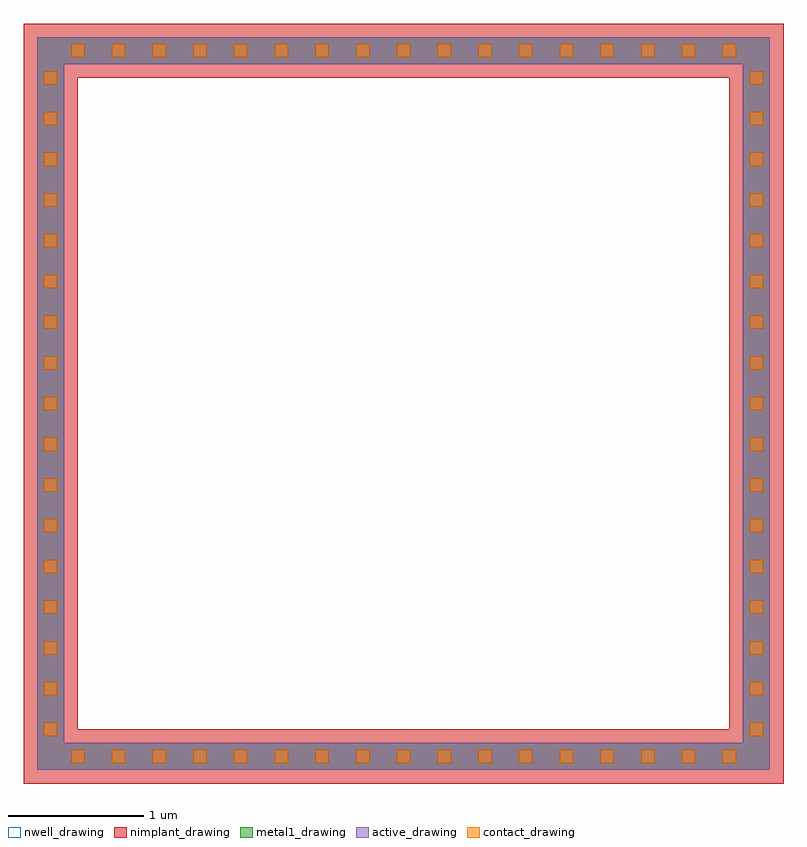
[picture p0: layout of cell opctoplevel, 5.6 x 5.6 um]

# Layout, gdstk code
import gdstk
lib = gdstk.Library(unit=1e-6, precision=1e-09)
def R(c, l, rs):  # rectangles x0, y0, x1, y1
    for r in rs: c.add(gdstk.rectangle(r[:2], r[2:], *l))
def A(c, l, x, y, w, h, nx, ny, dx, dy):  # array of equal rectangles
    R(c, l, [(x+i*dx, y+j*dy, x+i*dx+w, y+j*dy+h) for i in range(nx) for j in range(ny)])
active_drawing = (1, 0)
nwell_drawing = (3, 0)
nimplant_drawing = (5, 0)
contact_drawing = (7, 0)
metal1_drawing = (8, 0)

opctoplevel = lib.new_cell('opctoplevel')
R(opctoplevel, active_drawing, [(-0.2,-0.2,5.2,0), (-0.2,-0.2,0,5.2), (5,-0.2,5.2,5.2), (-0.2,5,5.2,5.2)])
R(opctoplevel, nwell_drawing, [(-0.3,-0.3,5.3,5.3)])
R(opctoplevel, nimplant_drawing, [(-0.3,-0.3,5.3,0.1), (-0.3,-0.3,0.1,5.3), (4.9,-0.3,5.3,5.3), (-0.3,4.9,5.3,5.3)])
A(opctoplevel, contact_drawing, 0.05, -0.15, 0.1, 0.1, 17, 2, 0.3, 5.2)
A(opctoplevel, contact_drawing, -0.15, 0.05, 0.1, 0.1, 1, 17, 0, 0.3)
A(opctoplevel, contact_drawing, 5.05, 0.05, 0.1, 0.1, 1, 17, 0, 0.3)
R(opctoplevel, metal1_drawing, [(-0.2,-0.2,5.2,0), (-0.2,-0.2,0,5.2), (5,-0.2,5.2,5.2), (-0.2,5,5.2,5.2)])

lib.write_gds('opctoplevel.gds')
